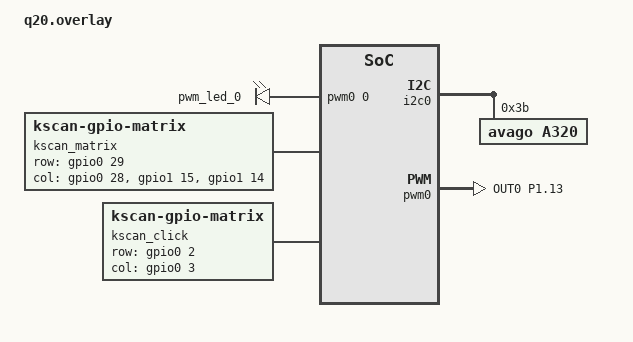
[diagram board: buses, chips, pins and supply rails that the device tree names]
#include <zephyr/dt-bindings/gpio/gpio.h>
#include <zephyr/dt-bindings/pwm/pwm.h>

/*
 * Seeeduino XIAO BLE (nRF52840) 的 Q20 shield。
 *
 * 按原理图对应的主控引脚：
 *   KEYA / KEYB -> P0.02 / P0.03（触控板按压开关的两端，FPC 15/14 脚）
 *   row7        -> P0.29
 *   col7        -> P0.28
 *   col8        -> P1.15
 *   col9        -> P1.14
 *   TP_SDA/SCL  -> P0.04 / P0.05（i2c0）
 *   TPBLK       -> P1.13（Q2 栅极，R4 下拉；高电平点亮触控板背光）
 *   KEY3        -> NRST（硬件复位，不作为键盘按键）
 *
 * 三枚 Kailh 按键按图中从左到右的 col7、col8、col9 顺序映射。
 * 二极管阴极接列，电流由行流向列，使用 row2col 扫描。
 */

/ {
    chosen {
        zmk,kscan = &kscan_composite;
        zmk,backlight = &backlight;
    };

    /* 触控板背光：P1.13 经 Q2（AO3400A）低边驱动 TPBLK_LEDK，用 PWM 调光。 */
    backlight: pwmleds {
        compatible = "pwm-leds";
        pwm_led_0 {
            pwms = <&pwm0 0 PWM_MSEC(10) PWM_POLARITY_NORMAL>;
        };
    };

    /* 三枚 Kailh 按键：一行三列矩阵。 */
    kscan_matrix: kscan_matrix {
        compatible = "zmk,kscan-gpio-matrix";
        row-gpios = <&gpio0 29 GPIO_ACTIVE_HIGH>;
        col-gpios = <&gpio0 28 (GPIO_ACTIVE_HIGH | GPIO_PULL_DOWN)>,
                    <&gpio1 15 (GPIO_ACTIVE_HIGH | GPIO_PULL_DOWN)>,
                    <&gpio1 14 (GPIO_ACTIVE_HIGH | GPIO_PULL_DOWN)>;
        diode-direction = "row2col";
    };

    /*
     * 触控板按压开关：KEYA、KEYB 是同一个开关的两端，两端都不接地，
     * 所以不能用上拉 + 低电平有效的 direct 扫描，按 1×1 矩阵处理：
     * KEYA 输出高电平，KEYB 下拉输入，按下时 KEYB 读到高电平。
     */
    kscan_click: kscan_click {
        compatible = "zmk,kscan-gpio-matrix";
        row-gpios = <&gpio0 2 GPIO_ACTIVE_HIGH>;
        col-gpios = <&gpio0 3 (GPIO_ACTIVE_HIGH | GPIO_PULL_DOWN)>;
        diode-direction = "row2col";
    };

    /* 三枚矩阵按键在前（第 0~2 位），触控板按压排在第 3 位。 */
    kscan_composite: kscan_composite {
        compatible = "zmk,kscan-composite";
        rows = <1>;
        columns = <4>;

        matrix {
            kscan = <&kscan_matrix>;
        };

        click {
            kscan = <&kscan_click>;
            column-offset = <3>;
        };
    };
};

/* XIAO 默认 i2c0 的 P0.04/P0.05 经电平转换后连接 A320 触控板。 */
&i2c0 {
    status = "okay";

    a320: a320@3b {
        compatible = "avago,a320";
        status = "okay";
        reg = <0x3B>;
    };
};

&pwm0 {
    status = "okay";
    pinctrl-0 = <&pwm0_default>;
    pinctrl-1 = <&pwm0_sleep>;
    pinctrl-names = "default", "sleep";
};

&pinctrl {
    pwm0_default: pwm0_default {
        group1 {
            psels = <NRF_PSEL(PWM_OUT0, 1, 13)>;
        };
    };

    pwm0_sleep: pwm0_sleep {
        group1 {
            psels = <NRF_PSEL(PWM_OUT0, 1, 13)>;
            low-power-enable;
        };
    };
};
